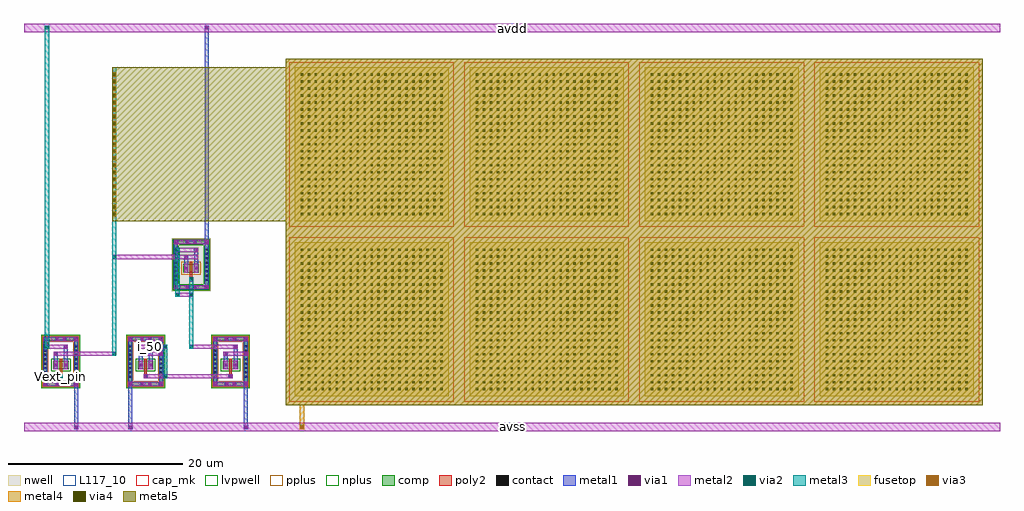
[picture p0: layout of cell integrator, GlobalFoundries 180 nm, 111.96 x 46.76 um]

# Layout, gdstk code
import gdstk
lib = gdstk.Library(unit=1e-6, precision=5e-09)
def R(c, l, rs):  # rectangles x0, y0, x1, y1
    for r in rs: c.add(gdstk.rectangle(r[:2], r[2:], *l))
def A(c, l, x, y, w, h, nx, ny, dx, dy):  # array of equal rectangles
    R(c, l, [(x+i*dx, y+j*dy, x+i*dx+w, y+j*dy+h) for i in range(nx) for j in range(ny)])
def P(c, l, *ps):  # polygons
    for p in ps: c.add(gdstk.Polygon(p, *l))
nwell = (21, 0)
comp = (22, 0)
poly2 = (30, 0)
pplus = (31, 0)
nplus = (32, 0)
contact = (33, 0)
metal1 = (34, 0)
via1 = (35, 0)
metal2 = (36, 0)
via2 = (38, 0)
via3 = (40, 0)
via4 = (41, 0)
metal3 = (42, 0)
metal4 = (46, 0)
fusetop = (75, 0)
metal5 = (81, 0)
cap_mk = (117, 5)
L117_10 = (117, 10)
lvpwell = (204, 0)

xm1 = lib.new_cell('xm1')
R(xm1, nwell, [(-2.22,-3.05,2.22,3.05), (-2.06,-2.89,2.06,2.89)])
A(xm1, comp, -1.94, -1.93, 0.36, 0.36, 1, 8, 0, 0.5)
A(xm1, comp, 1.58, -1.93, 0.36, 0.36, 1, 8, 0, 0.5)
R(xm1, comp, [(-0.58,-2.77,-0.22,-2.41), (-0.58,-2.77,0.58,-2.41), (0.22,-2.77,0.58,-2.41), (-1.94,-1.93,-1.58,1.93), (1.58,-1.93,1.94,1.93), (-0.89,-0.905,0.89,0.095), (-0.58,2.41,-0.22,2.77), (-0.58,2.41,0.58,2.77), (0.22,2.41,0.58,2.77)])
P(xm1, comp, [(1.94,2.77),(-1.94,2.77),(-1.94,-2.41),(-1.58,-2.41),(-1.58,2.41),(1.58,2.41),(1.58,-2.41),(-1.58,-2.41),(-1.94,-2.41),(-1.94,-2.77),(1.94,-2.77)])
R(xm1, poly2, [(-0.25,-1.945,0.25,-1.445), (-0.18,-1.875,0.18,-1.515), (-0.14,-1.445,0.14,-1.145), (-0.14,-1.145,0.14,0.335)])
R(xm1, pplus, [(-1.12,-1.135,1.12,0.325)])
P(xm1, nplus, [(2.1,2.93),(-2.1,2.93),(-2.1,-2.25),(-1.42,-2.25),(-1.42,2.25),(1.42,2.25),(1.42,-2.25),(-1.42,-2.25),(-2.1,-2.25),(-2.1,-2.93),(2.1,-2.93)])
A(xm1, contact, -1.87, -1.86, 0.22, 0.22, 1, 8, 0, 0.5)
A(xm1, contact, 1.65, -1.86, 0.22, 0.22, 1, 8, 0, 0.5)
R(xm1, contact, [(-0.51,-2.7,-0.29,-2.48), (0.29,-2.7,0.51,-2.48), (-0.11,-1.805,0.11,-1.585), (-0.68,-0.515,-0.46,-0.295), (0.46,-0.515,0.68,-0.295), (-0.51,2.48,-0.29,2.7), (0.29,2.48,0.51,2.7)])
A(xm1, metal1, -1.99, -1.98, 0.46, 0.46, 1, 8, 0, 0.5)
A(xm1, metal1, 1.53, -1.98, 0.46, 0.46, 1, 8, 0, 0.5)
R(xm1, metal1, [(-1.99,-2.84,-1.49,-2.34), (-1.99,-2.84,-1.49,-2.34), (-1.99,-2.84,-1.53,-2.41), (-0.65,-2.84,-0.15,-2.34), (-0.65,-2.84,0.65,-2.34), (0.15,-2.84,0.65,-2.34), (1.49,-2.84,1.99,-2.34), (1.49,-2.84,1.99,-2.34), (1.53,-2.84,1.99,-2.41), (-1.99,-2.41,-1.53,2.41), (1.53,-2.41,1.99,2.41), (-0.25,-1.945,0.25,-1.445), (-0.8,-0.905,-0.34,0.095), (0.34,-0.905,0.8,0.095), (-0.82,-0.655,-0.32,-0.155), (-0.82,-0.655,-0.32,-0.155), (0.32,-0.655,0.82,-0.155), (0.32,-0.655,0.82,-0.155), (-0.8,-0.635,-0.34,-0.175), (0.34,-0.635,0.8,-0.175), (-0.8,0.095,-0.34,1.145), (0.34,0.095,0.8,1.945), (-0.82,0.645,-0.32,1.145), (0.32,1.445,0.82,1.945), (-1.99,2.34,-1.49,2.84), (-1.99,2.34,-1.49,2.84), (-0.65,2.34,-0.15,2.84), (-0.65,2.34,0.65,2.84), (0.15,2.34,0.65,2.84), (1.49,2.34,1.99,2.84), (1.49,2.34,1.99,2.84), (-1.99,2.41,-1.53,2.84), (1.53,2.41,1.99,2.84)])
R(xm1, via1, [(-1.87,-2.72,-1.61,-2.46), (-0.53,-2.72,-0.27,-2.46), (0.27,-2.72,0.53,-2.46), (1.61,-2.72,1.87,-2.46), (-0.13,-1.825,0.13,-1.565), (-0.7,-0.535,-0.44,-0.275), (0.44,-0.535,0.7,-0.275), (-0.7,0.765,-0.44,1.025), (0.44,1.565,0.7,1.825), (-1.87,2.46,-1.61,2.72), (-0.53,2.46,-0.27,2.72), (0.27,2.46,0.53,2.72), (1.61,2.46,1.87,2.72)])
R(xm1, metal2, [(-1.99,-2.84,-1.49,-2.34), (-1.99,-2.84,-1.49,-2.34), (-1.99,-2.84,-1.58,-2.34), (-1.58,-2.84,1.58,-2.34), (-0.65,-2.84,-0.15,-2.34), (0.15,-2.84,0.65,-2.34), (1.49,-2.84,1.99,-2.34), (1.49,-2.84,1.99,-2.34), (1.58,-2.84,1.99,-2.34), (-0.25,-1.945,0.25,-1.445), (-0.25,-1.945,0.25,-1.445), (-0.82,-0.905,-0.32,0.095), (0.32,-0.905,0.82,0.095), (-0.82,-0.655,-0.32,-0.155), (0.32,-0.655,0.82,-0.155), (-0.82,0.645,-0.32,1.145), (-0.82,0.645,0.82,1.145), (-0.82,1.445,0.82,1.945), (0.32,1.445,0.82,1.945), (-1.99,2.34,-1.49,2.84), (-1.99,2.34,-1.49,2.84), (-1.99,2.34,-1.58,2.84), (-1.58,2.34,1.58,2.84), (-0.65,2.34,-0.15,2.84), (0.15,2.34,0.65,2.84), (1.49,2.34,1.99,2.84), (1.49,2.34,1.99,2.84), (1.58,2.34,1.99,2.84)])

xm6 = lib.new_cell('xm6')
A(xm6, comp, -1.94, -1.93, 0.36, 0.36, 1, 8, 0, 0.5)
A(xm6, comp, 1.58, -1.93, 0.36, 0.36, 1, 8, 0, 0.5)
R(xm6, comp, [(-0.58,-2.77,-0.22,-2.41), (-0.58,-2.77,0.58,-2.41), (0.22,-2.77,0.58,-2.41), (-1.94,-1.93,-1.58,1.93), (1.58,-1.93,1.94,1.93), (-0.89,-0.905,0.89,0.095), (-0.58,2.41,-0.22,2.77), (-0.58,2.41,0.58,2.77), (0.22,2.41,0.58,2.77)])
P(xm6, comp, [(1.94,2.77),(-1.94,2.77),(-1.94,-2.41),(-1.58,-2.41),(-1.58,2.41),(1.58,2.41),(1.58,-2.41),(-1.58,-2.41),(-1.94,-2.41),(-1.94,-2.77),(1.94,-2.77)])
R(xm6, poly2, [(-0.25,-1.945,0.25,-1.445), (-0.18,-1.875,0.18,-1.515), (-0.14,-1.445,0.14,-1.145), (-0.14,-1.145,0.14,0.335)])
P(xm6, pplus, [(2.1,2.93),(-2.1,2.93),(-2.1,-2.25),(-1.42,-2.25),(-1.42,2.25),(1.42,2.25),(1.42,-2.25),(-1.42,-2.25),(-2.1,-2.25),(-2.1,-2.93),(2.1,-2.93)])
R(xm6, nplus, [(-1.12,-1.135,1.12,0.325)])
A(xm6, contact, -1.87, -1.86, 0.22, 0.22, 1, 8, 0, 0.5)
A(xm6, contact, 1.65, -1.86, 0.22, 0.22, 1, 8, 0, 0.5)
R(xm6, contact, [(-0.51,-2.7,-0.29,-2.48), (0.29,-2.7,0.51,-2.48), (-0.11,-1.805,0.11,-1.585), (-0.68,-0.515,-0.46,-0.295), (0.46,-0.515,0.68,-0.295), (-0.51,2.48,-0.29,2.7), (0.29,2.48,0.51,2.7)])
A(xm6, metal1, -1.99, -1.98, 0.46, 0.46, 1, 8, 0, 0.5)
A(xm6, metal1, 1.53, -1.98, 0.46, 0.46, 1, 8, 0, 0.5)
R(xm6, metal1, [(-1.99,-2.84,-1.49,-2.34), (-1.99,-2.84,-1.49,-2.34), (-1.99,-2.84,-1.53,-2.41), (-0.65,-2.84,-0.15,-2.34), (-0.65,-2.84,0.65,-2.34), (0.15,-2.84,0.65,-2.34), (1.49,-2.84,1.99,-2.34), (1.49,-2.84,1.99,-2.34), (1.53,-2.84,1.99,-2.41), (-1.99,-2.41,-1.53,2.41), (1.53,-2.41,1.99,2.41), (-0.25,-1.945,0.25,-1.445), (-0.8,-0.905,-0.34,0.095), (0.34,-0.905,0.8,0.095), (-0.82,-0.655,-0.32,-0.155), (-0.82,-0.655,-0.32,-0.155), (0.32,-0.655,0.82,-0.155), (0.32,-0.655,0.82,-0.155), (-0.8,-0.635,-0.34,-0.175), (0.34,-0.635,0.8,-0.175), (-0.8,0.095,-0.34,1.145), (0.34,0.095,0.8,1.945), (-0.82,0.645,-0.32,1.145), (0.32,1.445,0.82,1.945), (-1.99,2.34,-1.49,2.84), (-1.99,2.34,-1.49,2.84), (-0.65,2.34,-0.15,2.84), (-0.65,2.34,0.65,2.84), (0.15,2.34,0.65,2.84), (1.49,2.34,1.99,2.84), (1.49,2.34,1.99,2.84), (-1.99,2.41,-1.53,2.84), (1.53,2.41,1.99,2.84)])
R(xm6, via1, [(-1.87,-2.72,-1.61,-2.46), (-0.53,-2.72,-0.27,-2.46), (0.27,-2.72,0.53,-2.46), (1.61,-2.72,1.87,-2.46), (-0.13,-1.825,0.13,-1.565), (-0.7,-0.535,-0.44,-0.275), (0.44,-0.535,0.7,-0.275), (-0.7,0.765,-0.44,1.025), (0.44,1.565,0.7,1.825), (-1.87,2.46,-1.61,2.72), (-0.53,2.46,-0.27,2.72), (0.27,2.46,0.53,2.72), (1.61,2.46,1.87,2.72)])
R(xm6, metal2, [(-1.99,-2.84,-1.49,-2.34), (-1.99,-2.84,-1.49,-2.34), (-1.99,-2.84,-1.58,-2.34), (-1.58,-2.84,1.58,-2.34), (-0.65,-2.84,-0.15,-2.34), (0.15,-2.84,0.65,-2.34), (1.49,-2.84,1.99,-2.34), (1.49,-2.84,1.99,-2.34), (1.58,-2.84,1.99,-2.34), (-0.25,-1.945,0.25,-1.445), (-0.25,-1.945,0.25,-1.445), (-0.82,-0.905,-0.32,0.095), (0.32,-0.905,0.82,0.095), (-0.82,-0.655,-0.32,-0.155), (0.32,-0.655,0.82,-0.155), (-0.82,0.645,-0.32,1.145), (-0.82,0.645,0.82,1.145), (-0.82,1.445,0.82,1.945), (0.32,1.445,0.82,1.945), (-1.99,2.34,-1.49,2.84), (-1.99,2.34,-1.49,2.84), (-1.99,2.34,-1.58,2.84), (-1.58,2.34,1.58,2.84), (-0.65,2.34,-0.15,2.84), (0.15,2.34,0.65,2.84), (1.49,2.34,1.99,2.84), (1.49,2.34,1.99,2.84), (1.58,2.34,1.99,2.84)])
R(xm6, lvpwell, [(-2.22,-3.05,2.22,3.05)])

xm2 = lib.new_cell('xm2')
A(xm2, comp, -1.94, -1.93, 0.36, 0.36, 1, 8, 0, 0.5)
A(xm2, comp, 1.58, -1.93, 0.36, 0.36, 1, 8, 0, 0.5)
R(xm2, comp, [(-0.58,-2.77,-0.22,-2.41), (-0.58,-2.77,0.58,-2.41), (0.22,-2.77,0.58,-2.41), (-1.94,-1.93,-1.58,1.93), (1.58,-1.93,1.94,1.93), (-0.89,-0.905,0.89,0.095), (-0.58,2.41,-0.22,2.77), (-0.58,2.41,0.58,2.77), (0.22,2.41,0.58,2.77)])
P(xm2, comp, [(1.94,2.77),(-1.94,2.77),(-1.94,-2.41),(-1.58,-2.41),(-1.58,2.41),(1.58,2.41),(1.58,-2.41),(-1.58,-2.41),(-1.94,-2.41),(-1.94,-2.77),(1.94,-2.77)])
R(xm2, poly2, [(-0.25,-1.945,0.25,-1.445), (-0.18,-1.875,0.18,-1.515), (-0.14,-1.445,0.14,-1.145), (-0.14,-1.145,0.14,0.335)])
P(xm2, pplus, [(2.1,2.93),(-2.1,2.93),(-2.1,-2.25),(-1.42,-2.25),(-1.42,2.25),(1.42,2.25),(1.42,-2.25),(-1.42,-2.25),(-2.1,-2.25),(-2.1,-2.93),(2.1,-2.93)])
R(xm2, nplus, [(-1.12,-1.135,1.12,0.325)])
A(xm2, contact, -1.87, -1.86, 0.22, 0.22, 1, 8, 0, 0.5)
A(xm2, contact, 1.65, -1.86, 0.22, 0.22, 1, 8, 0, 0.5)
R(xm2, contact, [(-0.51,-2.7,-0.29,-2.48), (0.29,-2.7,0.51,-2.48), (-0.11,-1.805,0.11,-1.585), (-0.68,-0.515,-0.46,-0.295), (0.46,-0.515,0.68,-0.295), (-0.51,2.48,-0.29,2.7), (0.29,2.48,0.51,2.7)])
A(xm2, metal1, -1.99, -1.98, 0.46, 0.46, 1, 8, 0, 0.5)
A(xm2, metal1, 1.53, -1.98, 0.46, 0.46, 1, 8, 0, 0.5)
R(xm2, metal1, [(-1.99,-2.84,-1.49,-2.34), (-1.99,-2.84,-1.49,-2.34), (-1.99,-2.84,-1.53,-2.41), (-0.65,-2.84,-0.15,-2.34), (-0.65,-2.84,0.65,-2.34), (0.15,-2.84,0.65,-2.34), (1.49,-2.84,1.99,-2.34), (1.49,-2.84,1.99,-2.34), (1.53,-2.84,1.99,-2.41), (-1.99,-2.41,-1.53,2.41), (1.53,-2.41,1.99,2.41), (-0.25,-1.945,0.25,-1.445), (-0.8,-0.905,-0.34,0.095), (0.34,-0.905,0.8,0.095), (-0.82,-0.655,-0.32,-0.155), (-0.82,-0.655,-0.32,-0.155), (0.32,-0.655,0.82,-0.155), (0.32,-0.655,0.82,-0.155), (-0.8,-0.635,-0.34,-0.175), (0.34,-0.635,0.8,-0.175), (-0.8,0.095,-0.34,1.145), (0.34,0.095,0.8,1.945), (-0.82,0.645,-0.32,1.145), (0.32,1.445,0.82,1.945), (-1.99,2.34,-1.49,2.84), (-1.99,2.34,-1.49,2.84), (-0.65,2.34,-0.15,2.84), (-0.65,2.34,0.65,2.84), (0.15,2.34,0.65,2.84), (1.49,2.34,1.99,2.84), (1.49,2.34,1.99,2.84), (-1.99,2.41,-1.53,2.84), (1.53,2.41,1.99,2.84)])
R(xm2, via1, [(-1.87,-2.72,-1.61,-2.46), (-0.53,-2.72,-0.27,-2.46), (0.27,-2.72,0.53,-2.46), (1.61,-2.72,1.87,-2.46), (-0.13,-1.825,0.13,-1.565), (-0.7,-0.535,-0.44,-0.275), (0.44,-0.535,0.7,-0.275), (-0.7,0.765,-0.44,1.025), (0.44,1.565,0.7,1.825), (-1.87,2.46,-1.61,2.72), (-0.53,2.46,-0.27,2.72), (0.27,2.46,0.53,2.72), (1.61,2.46,1.87,2.72)])
R(xm2, metal2, [(-1.99,-2.84,-1.49,-2.34), (-1.99,-2.84,-1.49,-2.34), (-1.99,-2.84,-1.58,-2.34), (-1.58,-2.84,1.58,-2.34), (-0.65,-2.84,-0.15,-2.34), (0.15,-2.84,0.65,-2.34), (1.49,-2.84,1.99,-2.34), (1.49,-2.84,1.99,-2.34), (1.58,-2.84,1.99,-2.34), (-0.25,-1.945,0.25,-1.445), (-0.25,-1.945,0.25,-1.445), (-0.82,-0.905,-0.32,0.095), (0.32,-0.905,0.82,0.095), (-0.82,-0.655,-0.32,-0.155), (0.32,-0.655,0.82,-0.155), (-0.82,0.645,-0.32,1.145), (-0.82,0.645,0.82,1.145), (-0.82,1.445,0.82,1.945), (0.32,1.445,0.82,1.945), (-1.99,2.34,-1.49,2.84), (-1.99,2.34,-1.49,2.84), (-1.99,2.34,-1.58,2.84), (-1.58,2.34,1.58,2.84), (-0.65,2.34,-0.15,2.84), (0.15,2.34,0.65,2.84), (1.49,2.34,1.99,2.84), (1.49,2.34,1.99,2.84), (1.58,2.34,1.99,2.84)])
R(xm2, lvpwell, [(-2.22,-3.05,2.22,3.05)])

xm3 = lib.new_cell('xm3')
A(xm3, comp, -1.94, -1.93, 0.36, 0.36, 1, 8, 0, 0.5)
A(xm3, comp, 1.58, -1.93, 0.36, 0.36, 1, 8, 0, 0.5)
R(xm3, comp, [(-0.58,-2.77,-0.22,-2.41), (-0.58,-2.77,0.58,-2.41), (0.22,-2.77,0.58,-2.41), (-1.94,-1.93,-1.58,1.93), (1.58,-1.93,1.94,1.93), (-0.89,-0.905,0.89,0.095), (-0.58,2.41,-0.22,2.77), (-0.58,2.41,0.58,2.77), (0.22,2.41,0.58,2.77)])
P(xm3, comp, [(1.94,2.77),(-1.94,2.77),(-1.94,-2.41),(-1.58,-2.41),(-1.58,2.41),(1.58,2.41),(1.58,-2.41),(-1.58,-2.41),(-1.94,-2.41),(-1.94,-2.77),(1.94,-2.77)])
R(xm3, poly2, [(-0.25,-1.945,0.25,-1.445), (-0.18,-1.875,0.18,-1.515), (-0.14,-1.445,0.14,-1.145), (-0.14,-1.145,0.14,0.335)])
P(xm3, pplus, [(2.1,2.93),(-2.1,2.93),(-2.1,-2.25),(-1.42,-2.25),(-1.42,2.25),(1.42,2.25),(1.42,-2.25),(-1.42,-2.25),(-2.1,-2.25),(-2.1,-2.93),(2.1,-2.93)])
R(xm3, nplus, [(-1.12,-1.135,1.12,0.325)])
A(xm3, contact, -1.87, -1.86, 0.22, 0.22, 1, 8, 0, 0.5)
A(xm3, contact, 1.65, -1.86, 0.22, 0.22, 1, 8, 0, 0.5)
R(xm3, contact, [(-0.51,-2.7,-0.29,-2.48), (0.29,-2.7,0.51,-2.48), (-0.11,-1.805,0.11,-1.585), (-0.68,-0.515,-0.46,-0.295), (0.46,-0.515,0.68,-0.295), (-0.51,2.48,-0.29,2.7), (0.29,2.48,0.51,2.7)])
A(xm3, metal1, -1.99, -1.98, 0.46, 0.46, 1, 8, 0, 0.5)
A(xm3, metal1, 1.53, -1.98, 0.46, 0.46, 1, 8, 0, 0.5)
R(xm3, metal1, [(-1.99,-2.84,-1.49,-2.34), (-1.99,-2.84,-1.49,-2.34), (-1.99,-2.84,-1.53,-2.41), (-0.65,-2.84,-0.15,-2.34), (-0.65,-2.84,0.65,-2.34), (0.15,-2.84,0.65,-2.34), (1.49,-2.84,1.99,-2.34), (1.49,-2.84,1.99,-2.34), (1.53,-2.84,1.99,-2.41), (-1.99,-2.41,-1.53,2.41), (1.53,-2.41,1.99,2.41), (-0.25,-1.945,0.25,-1.445), (-0.8,-0.905,-0.34,0.095), (0.34,-0.905,0.8,0.095), (-0.82,-0.655,-0.32,-0.155), (-0.82,-0.655,-0.32,-0.155), (0.32,-0.655,0.82,-0.155), (0.32,-0.655,0.82,-0.155), (-0.8,-0.635,-0.34,-0.175), (0.34,-0.635,0.8,-0.175), (-0.8,0.095,-0.34,1.145), (0.34,0.095,0.8,1.945), (-0.82,0.645,-0.32,1.145), (0.32,1.445,0.82,1.945), (-1.99,2.34,-1.49,2.84), (-1.99,2.34,-1.49,2.84), (-0.65,2.34,-0.15,2.84), (-0.65,2.34,0.65,2.84), (0.15,2.34,0.65,2.84), (1.49,2.34,1.99,2.84), (1.49,2.34,1.99,2.84), (-1.99,2.41,-1.53,2.84), (1.53,2.41,1.99,2.84)])
R(xm3, via1, [(-1.87,-2.72,-1.61,-2.46), (-0.53,-2.72,-0.27,-2.46), (0.27,-2.72,0.53,-2.46), (1.61,-2.72,1.87,-2.46), (-0.13,-1.825,0.13,-1.565), (-0.7,-0.535,-0.44,-0.275), (0.44,-0.535,0.7,-0.275), (-0.7,0.765,-0.44,1.025), (0.44,1.565,0.7,1.825), (-1.87,2.46,-1.61,2.72), (-0.53,2.46,-0.27,2.72), (0.27,2.46,0.53,2.72), (1.61,2.46,1.87,2.72)])
R(xm3, metal2, [(-1.99,-2.84,-1.49,-2.34), (-1.99,-2.84,-1.49,-2.34), (-1.99,-2.84,-1.58,-2.34), (-1.58,-2.84,1.58,-2.34), (-0.65,-2.84,-0.15,-2.34), (0.15,-2.84,0.65,-2.34), (1.49,-2.84,1.99,-2.34), (1.49,-2.84,1.99,-2.34), (1.58,-2.84,1.99,-2.34), (-0.25,-1.945,0.25,-1.445), (-0.25,-1.945,0.25,-1.445), (-0.82,-0.905,-0.32,0.095), (0.32,-0.905,0.82,0.095), (-0.82,-0.655,-0.32,-0.155), (0.32,-0.655,0.82,-0.155), (-0.82,0.645,-0.32,1.145), (-0.82,0.645,0.82,1.145), (-0.82,1.445,0.82,1.945), (0.32,1.445,0.82,1.945), (-1.99,2.34,-1.49,2.84), (-1.99,2.34,-1.49,2.84), (-1.99,2.34,-1.58,2.84), (-1.58,2.34,1.58,2.84), (-0.65,2.34,-0.15,2.84), (0.15,2.34,0.65,2.84), (1.49,2.34,1.99,2.84), (1.49,2.34,1.99,2.84), (1.58,2.34,1.99,2.84)])
R(xm3, lvpwell, [(-2.22,-3.05,2.22,3.05)])

xc3 = lib.new_cell('xc3')
A(xc3, via4, -8.13, -8.13, 0.26, 0.26, 21, 21, 0.8, 0.8)
A(xc3, via4, 11.95, -8.13, 0.26, 0.26, 21, 21, 0.8, 0.8)
A(xc3, via4, 32.03, -8.13, 0.26, 0.26, 21, 21, 0.8, 0.8)
A(xc3, via4, 52.11, -8.13, 0.26, 0.26, 21, 21, 0.8, 0.8)
A(xc3, via4, -8.13, 11.95, 0.26, 0.26, 21, 21, 0.8, 0.8)
A(xc3, via4, 11.95, 11.95, 0.26, 0.26, 21, 21, 0.8, 0.8)
A(xc3, via4, 32.03, 11.95, 0.26, 0.26, 21, 21, 0.8, 0.8)
A(xc3, via4, 52.11, 11.95, 0.26, 0.26, 21, 21, 0.8, 0.8)
A(xc3, metal4, -9.44, -9.44, 18.88, 18.88, 4, 2, 20.08, 20.08)
R(xc3, metal4, [(-9.84,-9.84,70.08,29.92)])
A(xc3, fusetop, -8.84, -8.84, 17.68, 17.68, 4, 2, 20.08, 20.08)
A(xc3, metal5, -8.84, -8.84, 17.68, 17.68, 4, 2, 20.08, 20.08)
A(xc3, metal5, -8.25, -8.25, 0.5, 0.5, 21, 21, 0.8, 0.8)
A(xc3, metal5, 11.83, -8.25, 0.5, 0.5, 21, 21, 0.8, 0.8)
A(xc3, metal5, 31.91, -8.25, 0.5, 0.5, 21, 21, 0.8, 0.8)
A(xc3, metal5, 51.99, -8.25, 0.5, 0.5, 21, 21, 0.8, 0.8)
A(xc3, metal5, 8.84, -0.14, 2.4, 0.28, 3, 2, 20.08, 20.08)
A(xc3, metal5, -0.14, 8.84, 0.28, 2.4, 4, 1, 20.08, 0)
A(xc3, metal5, -8.25, 11.83, 0.5, 0.5, 21, 21, 0.8, 0.8)
A(xc3, metal5, 11.83, 11.83, 0.5, 0.5, 21, 21, 0.8, 0.8)
A(xc3, metal5, 31.91, 11.83, 0.5, 0.5, 21, 21, 0.8, 0.8)
A(xc3, metal5, 51.99, 11.83, 0.5, 0.5, 21, 21, 0.8, 0.8)
R(xc3, metal5, [(-9.84,-9.84,70.08,29.92)])
A(xc3, cap_mk, -9.44, -9.44, 18.88, 18.88, 4, 2, 20.08, 20.08)
A(xc3, L117_10, -8.84, -8.84, 17.68, 0.1, 4, 2, 20.08, 20.08)

compass_238aa27a = lib.new_cell('compass_238aa27a')
R(compass_238aa27a, metal2, [(-55.98,-0.5,55.98,0.5)])

rectangle_238aa27a = lib.new_cell('rectangle_238aa27a')
rectangle_238aa27a.add(gdstk.Reference(compass_238aa27a, (55.98,0.5)))

compass_238aa27a_1 = lib.new_cell('compass_238aa27a$1')
R(compass_238aa27a_1, metal2, [(-55.98,-0.5,55.98,0.5)])

rectangle_238aa27a_1 = lib.new_cell('rectangle_238aa27a$1')
rectangle_238aa27a_1.add(gdstk.Reference(compass_238aa27a_1, (55.98,0.5)))

via_stack_a2e89513 = lib.new_cell('via_stack_a2e89513')
R(via_stack_a2e89513, metal2, [(-0.25,-0.25,0.25,0.25)])
R(via_stack_a2e89513, via2, [(-0.13,-0.13,0.13,0.13)])
R(via_stack_a2e89513, metal3, [(-0.25,-0.25,0.25,0.25)])

via_stack_a2e89513_1 = lib.new_cell('via_stack_a2e89513$1')
R(via_stack_a2e89513_1, metal2, [(-0.25,-0.25,0.25,0.25)])
R(via_stack_a2e89513_1, via2, [(-0.13,-0.13,0.13,0.13)])
R(via_stack_a2e89513_1, metal3, [(-0.25,-0.25,0.25,0.25)])

via_stack_a2e89513_2 = lib.new_cell('via_stack_a2e89513$2')
R(via_stack_a2e89513_2, metal2, [(-0.25,-0.25,0.25,0.25)])
R(via_stack_a2e89513_2, via2, [(-0.13,-0.13,0.13,0.13)])
R(via_stack_a2e89513_2, metal3, [(-0.25,-0.25,0.25,0.25)])

l_route_8fec0b43 = lib.new_cell('L_route_8fec0b43')
R(l_route_8fec0b43, metal1, [(18.71,16.56,19.17,41.55), (18.71,41.05,19.21,41.55), (18.71,41.05,19.21,41.55)])
R(l_route_8fec0b43, via1, [(18.83,41.17,19.09,41.43)])
R(l_route_8fec0b43, metal2, [(18.71,41.05,53.73,41.55), (18.71,41.05,19.21,41.55), (18.71,41.05,19.21,41.55)])

l_route_3836e623 = lib.new_cell('L_route_3836e623')
R(l_route_3836e623, metal1, [(23.23,-4.71,23.73,-4.21), (23.23,-4.71,23.73,-4.21), (23.23,-4.71,23.69,0.64)])
R(l_route_3836e623, via1, [(23.35,-4.59,23.61,-4.33)])
R(l_route_3836e623, metal2, [(23.23,-4.71,53.73,-4.21), (23.23,-4.71,23.73,-4.21), (23.23,-4.71,23.73,-4.21)])

l_route_b602ec8e = lib.new_cell('L_route_b602ec8e')
R(l_route_b602ec8e, metal1, [(9.97,-4.71,10.47,-4.21), (9.97,-4.71,10.47,-4.21), (9.97,-4.71,10.43,0.64)])
R(l_route_b602ec8e, via1, [(10.09,-4.59,10.35,-4.33)])
R(l_route_b602ec8e, metal2, [(9.97,-4.71,53.73,-4.21), (9.97,-4.71,10.47,-4.21), (9.97,-4.71,10.47,-4.21)])

l_route_4ee192c5 = lib.new_cell('L_route_4ee192c5')
R(l_route_4ee192c5, metal1, [(3.75,-4.71,4.25,-4.21), (3.75,-4.71,4.25,-4.21), (3.75,-4.71,4.21,0.64)])
R(l_route_4ee192c5, via1, [(3.87,-4.59,4.13,-4.33)])
R(l_route_4ee192c5, metal2, [(3.75,-4.71,53.73,-4.21), (3.75,-4.71,4.25,-4.21), (3.75,-4.71,4.25,-4.21)])

c_route_1cf25900 = lib.new_cell('c_route_1cf25900')
R(c_route_1cf25900, metal2, [(0.4,4.495,1.4,4.995), (0.4,4.495,0.9,4.995), (0.4,41.05,0.9,41.55), (0.4,41.05,53.73,41.55)])
R(c_route_1cf25900, via2, [(0.52,4.615,0.78,4.875), (0.52,41.17,0.78,41.43)])
R(c_route_1cf25900, metal3, [(0.4,4.495,0.9,4.995), (0.4,4.495,0.9,4.995), (0.4,4.495,0.9,41.55), (0.4,41.05,0.9,41.55), (0.4,41.05,0.9,41.55)])
P(c_route_1cf25900, metal3, [(0.9,4.495),(0.9,4.495),(0.9,4.995),(0.9,4.995)],
  [(0.9,41.05),(0.9,41.05),(0.9,41.55),(0.9,41.55)])

straight_route_9b5e5851 = lib.new_cell('straight_route_9b5e5851')
R(straight_route_9b5e5851, metal2, [(29.63,-4.71,30.13,-4.21)])
R(straight_route_9b5e5851, via2, [(29.75,-4.59,30.01,-4.33)])
R(straight_route_9b5e5851, via3, [(29.75,-4.59,30.01,-4.33)])
R(straight_route_9b5e5851, metal3, [(29.63,-4.71,30.13,-4.21)])
R(straight_route_9b5e5851, metal4, [(29.63,-4.71,30.13,-4.21), (29.63,-4.46,30.13,-0.37)])

straight_route_f7d24460 = lib.new_cell('straight_route_f7d24460')
R(straight_route_f7d24460, metal1, [(23.21,3.695,23.71,4.195)])
R(straight_route_f7d24460, via1, [(23.33,3.815,23.59,4.075)])
R(straight_route_f7d24460, metal2, [(22.52,3.695,23.46,4.195), (23.21,3.695,23.71,4.195)])

straight_route_c77412a3 = lib.new_cell('straight_route_c77412a3')
R(straight_route_c77412a3, metal1, [(13.47,3.695,13.97,4.195)])
R(straight_route_c77412a3, via1, [(13.59,3.815,13.85,4.075)])
R(straight_route_c77412a3, metal2, [(12.78,3.695,13.72,4.195), (13.47,3.695,13.97,4.195)])

via_stack_a2e89513_3 = lib.new_cell('via_stack_a2e89513$3')
R(via_stack_a2e89513_3, metal2, [(-0.25,-0.25,0.25,0.25)])
R(via_stack_a2e89513_3, via2, [(-0.13,-0.13,0.13,0.13)])
R(via_stack_a2e89513_3, metal3, [(-0.25,-0.25,0.25,0.25)])

straight_route_0ec11d6a = lib.new_cell('straight_route_0ec11d6a')
R(straight_route_0ec11d6a, metal2, [(16.93,12.205,17.43,12.705)])
R(straight_route_0ec11d6a, via2, [(17.05,12.325,17.31,12.585)])
R(straight_route_0ec11d6a, metal3, [(16.93,10.955,17.43,12.205), (16.93,12.205,17.43,12.705)])

c_route_ab1ed7e6 = lib.new_cell('c_route_ab1ed7e6')
R(c_route_ab1ed7e6, metal2, [(15.36,10.455,15.86,10.955), (15.36,10.455,16.93,10.955), (15.36,15.595,16.36,16.095), (15.36,15.595,15.86,16.095)])
R(c_route_ab1ed7e6, via2, [(15.48,10.575,15.74,10.835), (15.48,15.715,15.74,15.975)])
R(c_route_ab1ed7e6, metal3, [(15.36,10.455,15.86,10.955), (15.36,10.455,15.86,10.955), (15.36,10.455,15.86,16.095), (15.36,15.595,15.86,16.095), (15.36,15.595,15.86,16.095)])
P(c_route_ab1ed7e6, metal3, [(15.86,10.455),(15.86,10.455),(15.86,10.955),(15.86,10.955)],
  [(15.86,15.595),(15.86,15.595),(15.86,16.095),(15.86,16.095)])

l_route_2c7c0f80 = lib.new_cell('L_route_2c7c0f80')
R(l_route_2c7c0f80, metal2, [(16.93,4.495,20.88,4.995), (16.93,4.495,17.43,4.995), (16.93,4.495,17.43,4.995)])
R(l_route_2c7c0f80, via2, [(17.05,4.615,17.31,4.875)])
R(l_route_2c7c0f80, metal3, [(16.93,4.495,17.43,4.995), (16.93,4.495,17.43,4.995), (16.93,4.495,17.43,10.455)])

via_stack_a2e89513_5 = lib.new_cell('via_stack_a2e89513$5')
R(via_stack_a2e89513_5, metal2, [(-0.25,-0.25,0.25,0.25)])
R(via_stack_a2e89513_5, via2, [(-0.13,-0.13,0.13,0.13)])
R(via_stack_a2e89513_5, metal3, [(-0.25,-0.25,0.25,0.25)])

straight_route_b30f64cd = lib.new_cell('straight_route_b30f64cd')
R(straight_route_b30f64cd, metal2, [(12.21,1.105,14.21,1.605), (13.96,1.105,14.46,1.605)])
R(straight_route_b30f64cd, via2, [(14.08,1.225,14.34,1.485)])
R(straight_route_b30f64cd, metal3, [(13.96,1.105,14.46,1.605)])

l_route_3e45c7a7 = lib.new_cell('L_route_3e45c7a7')
R(l_route_3e45c7a7, metal2, [(12.78,4.495,14.46,4.995), (13.96,4.495,14.46,4.995), (13.96,4.495,14.46,4.995)])
R(l_route_3e45c7a7, via2, [(14.08,4.615,14.34,4.875)])
R(l_route_3e45c7a7, metal3, [(13.96,1.605,14.46,4.995), (13.96,4.495,14.46,4.995), (13.96,4.495,14.46,4.995)])

straight_route_d3c71f1c = lib.new_cell('straight_route_d3c71f1c')
R(straight_route_d3c71f1c, metal2, [(13.96,1.105,14.46,1.605), (14.46,1.105,21.45,1.605)])
R(straight_route_d3c71f1c, via2, [(14.08,1.225,14.34,1.485)])
R(straight_route_d3c71f1c, metal3, [(13.96,1.105,14.46,1.605)])

via_stack_a2e89513_9 = lib.new_cell('via_stack_a2e89513$9')
R(via_stack_a2e89513_9, metal2, [(-0.25,-0.25,0.25,0.25)])
R(via_stack_a2e89513_9, via2, [(-0.13,-0.13,0.13,0.13)])
R(via_stack_a2e89513_9, metal3, [(-0.25,-0.25,0.25,0.25)])

l_route_445f0d12 = lib.new_cell('L_route_445f0d12')
R(l_route_445f0d12, metal2, [(3.04,3.695,8.61,4.195), (8.11,3.695,8.61,4.195), (8.11,3.695,8.61,4.195)])
R(l_route_445f0d12, via2, [(8.23,3.815,8.49,4.075)])
R(l_route_445f0d12, metal3, [(8.11,3.695,8.61,4.195), (8.11,3.695,8.61,4.195), (8.11,3.695,8.61,15.295)])

straight_route_29f960a2 = lib.new_cell('straight_route_29f960a2')
R(straight_route_29f960a2, metal2, [(8.11,14.795,8.61,15.295), (8.36,14.795,16.36,15.295)])
R(straight_route_29f960a2, via2, [(8.23,14.915,8.49,15.175)])
R(straight_route_29f960a2, metal3, [(8.11,14.795,8.61,15.295)])

l_route_5227ceb6 = lib.new_cell('L_route_5227ceb6')
A(l_route_5227ceb6, via3, 8.23, 19.83, 0.26, 0.26, 1, 21, 0, 0.8)
A(l_route_5227ceb6, via4, 8.23, 19.83, 0.26, 0.26, 1, 21, 0, 0.8)
A(l_route_5227ceb6, metal3, 8.11, 19.71, 0.5, 0.5, 1, 21, 0, 0.8)
R(l_route_5227ceb6, metal3, [(8.11,15.295,8.61,36.8), (8.11,19.71,8.61,36.21)])
A(l_route_5227ceb6, metal4, 8.11, 19.71, 0.5, 0.5, 1, 21, 0, 0.8)
A(l_route_5227ceb6, metal5, 8.11, 19.71, 0.5, 0.5, 1, 21, 0, 0.8)
R(l_route_5227ceb6, metal5, [(8.11,19.12,29.04,36.8), (8.11,19.12,8.61,36.8)])

integrator = lib.new_cell('integrator')
integrator.add(gdstk.Reference(xm1, (17.18,14.15)))
integrator.add(gdstk.Reference(xm6, (2.22,3.05)))
integrator.add(gdstk.Reference(xm2, (21.7,3.05)))
integrator.add(gdstk.Reference(xm3, (11.96,3.05)))
integrator.add(gdstk.Reference(xc3, (37.88,7.88)))
integrator.add(gdstk.Reference(rectangle_238aa27a, (-2,40.8)))
integrator.add(gdstk.Reference(rectangle_238aa27a_1, (-2,-4.96)))
integrator.add(gdstk.Reference(via_stack_a2e89513, (53.98,41.3)))
integrator.add(gdstk.Reference(via_stack_a2e89513, (53.98,-4.46)))
integrator.add(gdstk.Reference(via_stack_a2e89513_1, (2.22,1.355)))
integrator.add(gdstk.Reference(via_stack_a2e89513_2, (12.53,4.745)))
integrator.add(gdstk.Reference(l_route_8fec0b43, (0,0)))
integrator.add(gdstk.Reference(l_route_3836e623, (0,0)))
integrator.add(gdstk.Reference(l_route_b602ec8e, (0,0)))
integrator.add(gdstk.Reference(l_route_4ee192c5, (0,0)))
integrator.add(gdstk.Reference(c_route_1cf25900, (0,0)))
integrator.add(gdstk.Reference(straight_route_9b5e5851, (0,0)))
integrator.add(gdstk.Reference(straight_route_f7d24460, (0,0)))
integrator.add(gdstk.Reference(straight_route_c77412a3, (0,0)))
integrator.add(gdstk.Reference(via_stack_a2e89513_3, (17.18,10.705)))
integrator.add(gdstk.Reference(straight_route_0ec11d6a, (0,0)))
integrator.add(gdstk.Reference(c_route_ab1ed7e6, (0,0)))
integrator.add(gdstk.Reference(l_route_2c7c0f80, (0,0)))
integrator.add(gdstk.Reference(via_stack_a2e89513_5, (14.21,1.355)))
integrator.add(gdstk.Reference(straight_route_b30f64cd, (0,0)))
integrator.add(gdstk.Reference(l_route_3e45c7a7, (0,0)))
integrator.add(gdstk.Reference(straight_route_d3c71f1c, (0,0)))
integrator.add(gdstk.Reference(via_stack_a2e89513_9, (8.36,15.045)))
integrator.add(gdstk.Reference(l_route_445f0d12, (0,0)))
integrator.add(gdstk.Reference(straight_route_29f960a2, (0,0)))
integrator.add(gdstk.Reference(l_route_5227ceb6, (0,0)))
integrator.add(gdstk.Label('avdd', (53.98,41.3), layer=42, texttype=10))
integrator.add(gdstk.Label('avss', (53.98,-4.46), layer=42, texttype=10))
integrator.add(gdstk.Label('Vext_pin', (2.22,1.355), layer=42, texttype=10))
integrator.add(gdstk.Label('i_50', (12.53,4.745), layer=42, texttype=10))

lib.write_gds('integrator.gds')
